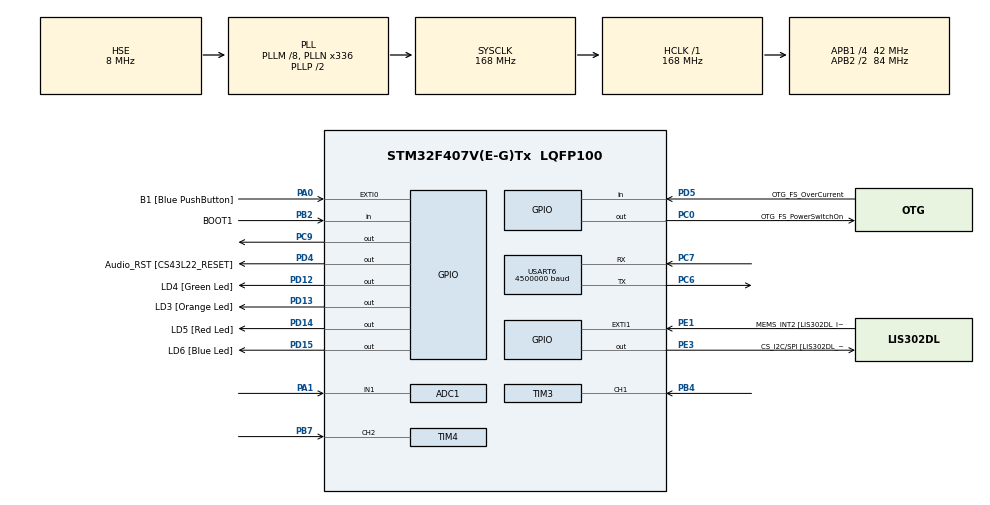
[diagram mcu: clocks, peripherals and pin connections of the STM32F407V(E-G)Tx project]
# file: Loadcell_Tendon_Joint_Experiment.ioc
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ADC1.Channel-0\#ChannelRegularConversion=ADC_CHANNEL_1
ADC1.ContinuousConvMode=ENABLE
ADC1.EOCSelection=ADC_EOC_SEQ_CONV
ADC1.NbrOfConversionFlag=1
ADC1.Rank-0\#ChannelRegularConversion=1
ADC1.SamplingTime-0\#ChannelRegularConversion=ADC_SAMPLETIME_3CYCLES
ADC1.master=1
Dma.Request0=USART6_RX
Dma.Request1=USART6_TX
Dma.USART6_RX.0.Direction=DMA_PERIPH_TO_MEMORY
Dma.USART6_RX.0.FIFOMode=DMA_FIFOMODE_DISABLE
Dma.USART6_RX.0.Instance=DMA2_Stream1
Dma.USART6_RX.0.MemDataAlignment=DMA_MDATAALIGN_BYTE
Dma.USART6_RX.0.MemInc=DMA_MINC_ENABLE
Dma.USART6_RX.0.Mode=DMA_NORMAL
Dma.USART6_RX.0.PeriphDataAlignment=DMA_PDATAALIGN_BYTE
Dma.USART6_RX.0.PeriphInc=DMA_PINC_DISABLE
Dma.USART6_RX.0.Priority=DMA_PRIORITY_LOW
Dma.USART6_TX.1.Direction=DMA_MEMORY_TO_PERIPH
Dma.USART6_TX.1.FIFOMode=DMA_FIFOMODE_DISABLE
Dma.USART6_TX.1.Instance=DMA2_Stream6
Dma.USART6_TX.1.MemDataAlignment=DMA_MDATAALIGN_BYTE
Dma.USART6_TX.1.MemInc=DMA_MINC_ENABLE
Dma.USART6_TX.1.Mode=DMA_NORMAL
Dma.USART6_TX.1.PeriphDataAlignment=DMA_PDATAALIGN_BYTE
Dma.USART6_TX.1.PeriphInc=DMA_PINC_DISABLE
Dma.USART6_TX.1.Priority=DMA_PRIORITY_LOW
Mcu.Family=STM32F4
Mcu.Name=STM32F407V(E-G)Tx
Mcu.Package=LQFP100
NVIC.DMA2_Stream1_IRQn=true\:0\:0\:false\:false\:true\:false\:true\:true
NVIC.DMA2_Stream6_IRQn=true\:0\:0\:false\:false\:true\:false\:true\:true
NVIC.PriorityGroup=NVIC_PRIORITYGROUP_0
NVIC.USART6_IRQn=true\:0\:0\:false\:false\:true\:true\:true\:true
PA0-WKUP.GPIO_Label=B1 [Blue PushButton]
PA0-WKUP.GPIO_ModeDefaultEXTI=GPIO_MODE_EVT_RISING
PA0-WKUP.GPIO_PuPd=GPIO_NOPULL
PA0-WKUP.Signal=GPXTI0
PA1.Signal=ADCx_IN1
PA10.GPIO_Label=OTG_FS_ID
PA10.GPIO_Mode=GPIO_MODE_AF_PP
PA10.GPIO_PuPd=GPIO_NOPULL
PA10.GPIO_Speed=GPIO_SPEED_FREQ_LOW
PA10.Signal=USB_OTG_FS_ID
PA11.GPIO_Label=OTG_FS_DM
PA11.GPIO_Mode=GPIO_MODE_AF_PP
PA11.GPIO_PuPd=GPIO_NOPULL
PA11.GPIO_Speed=GPIO_SPEED_FREQ_LOW
PA11.Signal=USB_OTG_FS_DM
PA12.GPIO_Label=OTG_FS_DP
PA12.GPIO_Mode=GPIO_MODE_AF_PP
PA12.GPIO_PuPd=GPIO_NOPULL
PA12.GPIO_Speed=GPIO_SPEED_FREQ_LOW
PA12.Signal=USB_OTG_FS_DP
PA13.GPIO_Label=SWDIO
PA13.Mode=Serial_Wire
PA13.Signal=SYS_JTMS-SWDIO
PA14.GPIO_Label=SWCLK
PA14.Mode=Serial_Wire
PA14.Signal=SYS_JTCK-SWCLK
PA4.GPIO_Label=I2S3_WS [CS43L22_LRCK]
PA4.GPIO_Mode=GPIO_MODE_AF_PP
PA4.GPIO_PuPd=GPIO_NOPULL
PA4.GPIO_Speed=GPIO_SPEED_FREQ_LOW
PA4.Signal=I2S3_WS
PA5.GPIO_Label=SPI1_SCK [LIS302DL_SCL/SPC]
PA5.GPIO_Mode=GPIO_MODE_AF_PP
PA5.GPIO_PuPd=GPIO_NOPULL
PA5.GPIO_Speed=GPIO_SPEED_FREQ_LOW
PA5.Signal=SPI1_SCK
PA6.GPIO_Label=SPI1_MISO [LIS302DL_SDO]
PA6.GPIO_Mode=GPIO_MODE_AF_PP
PA6.GPIO_PuPd=GPIO_NOPULL
PA6.GPIO_Speed=GPIO_SPEED_FREQ_LOW
PA6.Signal=SPI1_MISO
PA7.GPIO_Label=SPI1_MOSI [LIS302DL_SDA/SDI/SDO]
PA7.GPIO_Mode=GPIO_MODE_AF_PP
PA7.GPIO_PuPd=GPIO_NOPULL
PA7.GPIO_Speed=GPIO_SPEED_FREQ_LOW
PA7.Signal=SPI1_MOSI
PA9.GPIO_Label=VBUS_FS
PA9.GPIO_Mode=GPIO_MODE_INPUT
PA9.GPIO_PuPd=GPIO_NOPULL
PA9.Signal=USB_OTG_FS_VBUS
PB10.GPIO_Label=CLK_IN [MP45DT02_CLK]
PB10.GPIO_Mode=GPIO_MODE_AF_PP
PB10.GPIO_PuPd=GPIO_NOPULL
PB10.GPIO_Speed=GPIO_SPEED_FREQ_LOW
PB10.Signal=I2S2_CK
PB2.GPIO_Label=BOOT1
PB2.GPIO_Mode=GPIO_MODE_INPUT
PB2.GPIO_PuPd=GPIO_NOPULL
PB2.Signal=GPIO_Input
PB3.GPIO_Label=SWO
PB3.Signal=SYS_JTDO-SWO
PB4.Signal=S_TIM3_CH1
PB6.GPIO_Label=Audio_SCL [CS43L22_SCL]
PB6.GPIO_Mode=GPIO_MODE_AF_OD
PB6.GPIO_Pu=GPIO_PULLUP
PB6.GPIO_PuPd=GPIO_NOPULL
PB6.GPIO_Speed=GPIO_SPEED_FREQ_LOW
PB6.Signal=I2C1_SCL
PB7.Signal=S_TIM4_CH2
PB9.GPIO_Label=Audio_SDA [CS43L22_SDA]
PB9.GPIO_Mode=GPIO_MODE_AF_OD
PB9.GPIO_Pu=GPIO_PULLUP
PB9.GPIO_PuPd=GPIO_NOPULL
PB9.GPIO_Speed=GPIO_SPEED_FREQ_LOW
PB9.Signal=I2C1_SDA
PC0.GPIO_Label=OTG_FS_PowerSwitchOn
PC0.GPIO_PuPd=GPIO_NOPULL
PC0.GPIO_Speed=GPIO_SPEED_FREQ_LOW
PC0.PinState=GPIO_PIN_SET
PC0.Signal=GPIO_Output
PC10.GPIO_Label=I2S3_SCK [CS43L22_SCLK]
PC10.GPIO_Mode=GPIO_MODE_AF_PP
PC10.GPIO_PuPd=GPIO_NOPULL
PC10.GPIO_Speed=GPIO_SPEED_FREQ_LOW
PC10.Signal=I2S3_CK
PC12.GPIO_Label=I2S3_SD [CS43L22_SDIN]
PC12.GPIO_Mode=GPIO_MODE_AF_PP
PC12.GPIO_PuPd=GPIO_NOPULL
PC12.GPIO_Speed=GPIO_SPEED_FREQ_LOW
PC12.Signal=I2S3_SD
PC14-OSC32_IN.GPIO_Label=PC14-OSC32_IN
PC14-OSC32_IN.Mode=LSE-External-Oscillator
PC14-OSC32_IN.Signal=RCC_OSC32_IN
PC15-OSC32_OUT.GPIO_Label=PC15-OSC32_OUT
PC15-OSC32_OUT.Mode=LSE-External-Oscillator
PC15-OSC32_OUT.Signal=RCC_OSC32_OUT
PC3.GPIO_Label=PDM_OUT [MP45DT02_DOUT]
PC3.GPIO_Mode=GPIO_MODE_AF_PP
PC3.GPIO_PuPd=GPIO_NOPULL
PC3.GPIO_Speed=GPIO_SPEED_FREQ_LOW
PC3.Signal=I2S2_SD
PC6.Mode=Asynchronous
PC6.Signal=USART6_TX
PC7.Mode=Asynchronous
PC7.Signal=USART6_RX
PC9.Signal=GPIO_Output
PD12.GPIO_Label=LD4 [Green Led]
PD12.GPIO_PuPd=GPIO_NOPULL
PD12.GPIO_Speed=GPIO_SPEED_FREQ_LOW
PD12.Signal=GPIO_Output
PD13.GPIO_Label=LD3 [Orange Led]
PD13.GPIO_PuPd=GPIO_NOPULL
PD13.GPIO_Speed=GPIO_SPEED_FREQ_LOW
PD13.Signal=GPIO_Output
PD14.GPIO_Label=LD5 [Red Led]
PD14.GPIO_PuPd=GPIO_NOPULL
PD14.GPIO_Speed=GPIO_SPEED_FREQ_LOW
PD14.Signal=GPIO_Output
PD15.GPIO_Label=LD6 [Blue Led]
PD15.GPIO_PuPd=GPIO_NOPULL
PD15.GPIO_Speed=GPIO_SPEED_FREQ_LOW
PD15.Signal=GPIO_Output
PD4.GPIO_Label=Audio_RST [CS43L22_RESET]
PD4.GPIO_PuPd=GPIO_NOPULL
PD4.GPIO_Speed=GPIO_SPEED_FREQ_LOW
PD4.Signal=GPIO_Output
PD5.GPIO_Label=OTG_FS_OverCurrent
PD5.GPIO_Mode=GPIO_MODE_INPUT
PD5.GPIO_PuPd=GPIO_NOPULL
PD5.Signal=GPIO_Input
PE1.GPIO_Label=MEMS_INT2 [LIS302DL_INT2]
PE1.GPIO_ModeDefaultEXTI=GPIO_MODE_EVT_RISING
PE1.GPIO_PuPd=GPIO_NOPULL
PE1.Signal=GPXTI1
PE3.GPIO_Label=CS_I2C/SPI [LIS302DL_CS_I2C/SPI]
PE3.GPIO_PuPd=GPIO_NOPULL
PE3.GPIO_Speed=GPIO_SPEED_FREQ_LOW
PE3.Signal=GPIO_Output
PH0-OSC_IN.GPIO_Label=PH0-OSC_IN
PH0-OSC_IN.Mode=HSE-External-Oscillator
PH0-OSC_IN.Signal=RCC_OSC_IN
PH1-OSC_OUT.GPIO_Label=PH1-OSC_OUT
PH1-OSC_OUT.Mode=HSE-External-Oscillator
PH1-OSC_OUT.Signal=RCC_OSC_OUT
ProjectManager.HeapSize=0x200
ProjectManager.StackSize=0x400
ProjectManager.TargetToolchain=MDK-ARM V5
RCC.48MHZClocksFreq_Value=48000000
RCC.AHBFreq_Value=168000000
RCC.APB1CLKDivider=RCC_HCLK_DIV4
RCC.APB1Freq_Value=42000000
RCC.APB1TimFreq_Value=84000000
RCC.APB2CLKDivider=RCC_HCLK_DIV2
RCC.APB2Freq_Value=84000000
RCC.APB2TimFreq_Value=168000000
RCC.CortexFreq_Value=168000000
RCC.HCLKFreq_Value=168000000
RCC.HSE_VALUE=8000000
RCC.HSI_VALUE=16000000
RCC.PLLM=8
RCC.PLLN=336
RCC.PLLQ=7
RCC.PLLSourceVirtual=RCC_PLLSOURCE_HSE
RCC.SYSCLKFreq_VALUE=168000000
RCC.SYSCLKSource=RCC_SYSCLKSOURCE_PLLCLK
RCC.VCOOutputFreq_Value=336000000
SH.ADCx_IN1.0=ADC1_IN1,IN1
SH.S_TIM3_CH1.0=TIM3_CH1,PWM_Input_1
SH.S_TIM4_CH2.0=TIM4_CH2,PWM_Input_2
TIM3.ICFilter_1=1
TIM3.ICFilter_2=1
TIM3.Period=60000-1
TIM3.Prescaler=6-1
TIM4.ICFilter_1=1
TIM4.ICFilter_2=1
TIM4.Period=60000-1
TIM4.Prescaler=6-1
USART6.BaudRate=4500000
USART6.VirtualMode=VM_ASYNC
board=STM32F407G-DISC1

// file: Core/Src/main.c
/* USER CODE BEGIN Header */
/**
 ******************************************************************************
 * @file           : main.c
 * @brief          : Main program body
 ******************************************************************************
 * @attention
 *
 * Copyright (c) 2025 STMicroelectronics.
 * All rights reserved.
 *
 * This software is licensed under terms that can be found in the LICENSE file
 * in the root directory of this software component.
 * If no LICENSE file comes with this software, it is provided AS-IS.
 *
 ******************************************************************************
 */
/* USER CODE END Header */
#include "main.h"
#include "adc.h"
#include "dma.h"
#include "tim.h"
#include "usart.h"
#include "gpio.h"

/* USER CODE BEGIN Includes */
#include "control_table.h"
#include "my_dynamixel.h"
#include <stdlib.h> // for boolean type
#include <math.h>
/* USER CODE END Includes */

/* USER CODE BEGIN PTD */
#define AS5048_PWM_RESOLUSION 4096
#define CLK_PWM 4119
#define CLK_ZERO 16

// ****** Manual Modify in the Calibration Mode ******//
// four situations of orgAngleAS5048A
// 1 , EX: ext->flex ===== 20->70
// 2 , EX: ext->flex ===== 250->160
// 3 , EX: ext->flex ===== 300->360(0)->40
// 4 , EX: ext->flex ===== 40->0(360)->300
#define TYPE_PIP_AS5048A 2
#define TYPE_DIP_AS5048A 2

// ****** Manual Modify in the Calibration Mode ******//
// *************** integer number of clk/counter *******************//
#define AS5048A_PIP_FLEX_LIM 1916
#define AS5048A_DIP_FLEX_LIM 1630
#define AS5048A_PIP_EXT_LIM 3012
#define AS5048A_DIP_EXT_LIM 2371

#define HS30B_PIP_FLEX_LIM 972
#define HS30B_DIP_FLEX_LIM 3723
#define HS30B_PIP_EXT_LIM 3969
#define HS30B_DIP_EXT_LIM 351

// ****** Manual Modify for the lowpasss filter ******//
#define ALPHA_AS5048A 0.8
#define ALPHA_LOADCELL 0.99

// ****** Coefficient of Error Compensation ******//

// Index 20250605
#define P3 -5.0203e-07
#define P2 -2.0258e-04
#define P1 0.0273
#define P0 -0.0014

#define D3 1.1005e-05
#define D2 -0.0011
#define D1 1.0273e-04
#define D0 0.0412

/* USER CODE END PTD */

/* USER CODE BEGIN PV */
volatile ServoXM4340 myServo;

float goalCurrent;
float goalPosition;
float goalVelocity;

float curPosition;
float curCurrent;
float curVelocity;

int tensionRecordFlag_PIP = 0;
int tensionRecordFlag_DIP = 0;
int angleRecordFlag_PIP = 0;
int angleRecordFlag_DIP = 0;

int tareRecordFlag;

float cur_Velocity_PIP;
float cur_Velocity_DIP;
float curF_Velocity_PIP;
float curF_Velocity_DIP;

/*--- used in AS5048A capture func. ---*/
volatile uint32_t IC_Val1_PIP = 0, IC_Val2_PIP = 0;
volatile uint32_t IC_Val1_DIP = 0, IC_Val2_DIP = 0;
int angClkAS5048A_PIP;
int angClkAS5048A_DIP;

/* Aligned angle in deg
/* deg 0 to deg max -----------*/
float cur_AngAS5048A_PIP;
float cur_AngAS5048A_DIP;

float pre_AngAS5048A_PIP;
float pre_AngAS5048A_DIP;

/* Aligned clk and counter
/* 0 to max -----------*/
int AlignedAngClkAS5048A_PIP;
int AlignedAngClkAS5048A_DIP;

/* angle for filter*/
/*------------------------------*/
float curF_AngAS5048A_PIP;
float preF_AngAS5048A_PIP;

float curF_AngAS5048A_DIP;
float preF_AngAS5048A_DIP;

/*--- used for error compensation ---*/
float comp_AngAS5048A_DIP;
float comp_AngAS5048A_PIP;

/*--- used for loadcell ---*/
uint32_t cur_loadcell;
uint32_t pre_loadcell;
float filtered_cur_loadcell;
float filtered_pre_loadcell;

/* USER CODE END PV */

void SystemClock_Config(void);
/* USER CODE BEGIN PFP */
void getJointAngle(void);
float compErrCalculate(float angle, float c3, float c2, float c1, float c0);
int alignAS5048A(int type, int angClkAS5048A, int extLim);

void getLoadCell(void);
void loadCellInit(void);
/* USER CODE END PFP */

int main(void)
{

  /* MCU Configuration--------------------------------------------------------*/

  /* Reset of all peripherals, Initializes the Flash interface and the Systick. */
  HAL_Init();

  /* Configure the system clock */
  SystemClock_Config();

  /* Initialize all configured peripherals */
  MX_GPIO_Init();
  MX_DMA_Init();
  MX_USART6_UART_Init();
  MX_TIM3_Init();
  MX_TIM4_Init();
  MX_ADC1_Init();
  /* USER CODE BEGIN 2 */

  HAL_TIM_IC_Start(&htim3, TIM_CHANNEL_1);
  HAL_TIM_IC_Start(&htim3, TIM_CHANNEL_2);
  HAL_TIM_IC_Start(&htim4, TIM_CHANNEL_1);
  HAL_TIM_IC_Start(&htim4, TIM_CHANNEL_2);

  DXL_InitServo(&myServo, 2, &huart6, GPIOC, GPIO_PIN_9);

  HAL_UART_DeInit(&huart6);
  huart6.Init.BaudRate = 4500000;
  if (HAL_UART_Init(&huart6) != HAL_OK)
  {
    Error_Handler();
  }
  HAL_Delay(100);

  HAL_ADC_Start(&hadc1);

  /* ------------------------- Initialize ------------------------------- */
  IC_Val1_PIP = 0;
  IC_Val2_PIP = 0;
  IC_Val1_DIP = 0;
  IC_Val2_DIP = 0;
  angClkAS5048A_PIP = 0;
  angClkAS5048A_DIP = 0;
  AlignedAngClkAS5048A_PIP = 0;
  AlignedAngClkAS5048A_DIP = 0;
  cur_AngAS5048A_PIP = 0;
  cur_AngAS5048A_DIP = 0;
  curF_AngAS5048A_PIP = 0;
  curF_AngAS5048A_DIP = 0;
  comp_AngAS5048A_DIP = 0;
  comp_AngAS5048A_PIP = 0;
  pre_AngAS5048A_PIP = AlignedAngClkAS5048A_PIP;
  pre_AngAS5048A_DIP = AlignedAngClkAS5048A_DIP;
  preF_AngAS5048A_PIP = curF_AngAS5048A_PIP;
  preF_AngAS5048A_PIP = curF_AngAS5048A_DIP;

  cur_Velocity_PIP = 0;
  cur_Velocity_DIP = 0;
  curF_Velocity_PIP = 0;
  curF_Velocity_DIP = 0;

  cur_loadcell = 0;
  pre_loadcell = 0;
  filtered_cur_loadcell = 0;
  filtered_pre_loadcell = 0;

  tareRecordFlag = 0;

  /* ---------------------------------------------------------------------------------------*/
  /* ------------------ Torsion Spring Coefficient And Tension Measurement -----------------*/
  /* ---------------------------------------------------------------------------------------*/

  HAL_Delay(3000);

  // Loadcell Tare
  // ------------------------------------------------------------------ //
  loadCellInit();

  uint32_t startTick0 = HAL_GetTick();
  tareRecordFlag = 1;
  // while (1)
  while (HAL_GetTick() - startTick0 < 3000)
  {
    getLoadCell();
  }
  tareRecordFlag = 0;

  HAL_Delay(200);

  // ------------------Servo Setting ------------------- //

  // setServo_OperatingMode(&myServo, Current_CtrlMode);
  // setServo_OperatingMode(&myServo, CurrentBased_POS_CtrlMode);
  setServo_OperatingMode(&myServo, Velocity_CtrlMode);
  getServo_CurrentLimit(&myServo);
  getServo_OperatingMode(&myServo);
  setServo_TorqueENA(&myServo, TORQUE_ENABLE);
  // setServo_TorqueENA(&myServo, TORQUE_DISABLE);

  // ------------------ Parameter Test Part ------------------- //
  // // Check posCmd_Start, posCmd_MAX, servoReleaseCurCmd, servoWindingMin, servoWindingMax
  // goalCurrent = 500;
  // goalPosition = 340;
  // goalVelocity = -0.25; // rpm

  // while (1)
  // {
  //   // setServo_GoalCurrent(&myServo, goalCurrent);
  //   setServo_GoalPosition(&myServo, goalPosition);
  //   // setServo_GoalVelocity(&myServo, goalVelocity);

  //   getJointAngle();
  //   curPosition = getServo_PresentPosition(&myServo);
  //   curCurrent = getServo_PresentCurrent(&myServo);
  //   curVelocity = getServo_PresentVelocity(&myServo);

  //   // Read Loadcell
  //   pre_loadcell = cur_loadcell;
  //   filtered_pre_loadcell = filtered_cur_loadcell;
  //   if (HAL_ADC_PollForConversion(&hadc1, 2) == HAL_OK)
  //   {
  //     cur_loadcell = HAL_ADC_GetValue(&hadc1);
  //   }
  //   // Low Pass Filter
  //   filtered_cur_loadcell = ALPHA_LOADCELL * filtered_pre_loadcell +
  //                           (1 - ALPHA_LOADCELL) * ((float)cur_loadcell + (float)pre_loadcell) / 2;

  //   HAL_GPIO_TogglePin(GPIOD, LD3_Pin);
  // }

  // ------------------ Manual Modified Needed ------------------- //
  int servo_dir = -1;

  // Attention for posCmd_MAX Selection
  // The PIP/DIP joint limtation should be notice.
  // float posCmd_Start = servo_dir * 40; // mA
  // float posCmd_MAX = servo_dir * 170;  // mA
  // float posCmd_Step = servo_dir * 10;  // mA

  // float delataCur = servo_dir * 3; // mA
  uint32_t steadyInterval = 200; // ms
  float alphaVelocityFilter = 0.99;
  float jointVelocityThreshold = 0.05; // rpm

  float servoWindingMin = 340; // WindingMin means the angle of servo when the tendon finger is in the maximum Flexion position
  float servoWindingMax = 82;  // WindingMax means the angle of servo when the tendon finger is in the Extension position

  float posCmd_Start = 165;
  float posCmd_End = servoWindingMax;
  float posCmd_Step = servo_dir * 8;

  float servoDiffThreshold = 2; // deg

  float servoReleaseVelCmd = -servo_dir * 8;        // rpm
  float servoWindingVelCmd_Slow = servo_dir * 0.25; // rpm
  float servoWindingVelCmd_Fast = servo_dir * 8;    // rpm

  // ------------------ Manual Modified State ------------------- //
  // state = 1 for Flexion Measurement
  // state = -1 for Extehnsion Measurement
  int state = -1;

  float pre_comp_AngAS5048A_PIP;
  float pre_comp_AngAS5048A_DIP;
  float pre_Velocity_PIP;
  float pre_Velocity_DIP;
  float preF_Velocity_PIP;
  float preF_Velocity_DIP;
  for (float posCmd = posCmd_Start; servo_dir * posCmd <= servo_dir * posCmd_End; posCmd += posCmd_Step)
  {
    goalVelocity = servoWindingVelCmd_Fast;
    setServo_GoalVelocity(&myServo, goalVelocity);

    // Joint Stable Detection
    // ------------------------------------------------------------------ //
    getJointAngle();
    pre_comp_AngAS5048A_PIP = comp_AngAS5048A_PIP;
    pre_comp_AngAS5048A_DIP = comp_AngAS5048A_DIP;

    int isStable = 0;

    angleRecordFlag_PIP = 0;
    angleRecordFlag_DIP = 0;

    uint32_t startTick1 = HAL_GetTick();
    while (!isStable)
    {
      getJointAngle();
      getLoadCell();
      curPosition = getServo_PresentPosition(&myServo);

      if (fabs(curPosition - posCmd) < servoDiffThreshold)
      {
        goalVelocity = 0; // stop the servo
        setServo_GoalVelocity(&myServo, goalVelocity);
        if (HAL_GetTick() - startTick1 >= 3000)
        {
          isStable = 1;
          angleRecordFlag_PIP = 1;
          angleRecordFlag_DIP = 1;
          HAL_GPIO_TogglePin(GPIOD, LD4_Pin);
        }
      }
      else
        startTick1 = HAL_GetTick();
      pre_comp_AngAS5048A_PIP = comp_AngAS5048A_PIP;
      pre_comp_AngAS5048A_DIP = comp_AngAS5048A_DIP;
    }

    startTick1 = HAL_GetTick();
    while (HAL_GetTick() - startTick1 < 1000)
    {
      getJointAngle();
      getLoadCell();
    }
    angleRecordFlag_PIP = 0;
    angleRecordFlag_DIP = 0;

    // Main Experiment
    // ------------------------------------------------------------------ //
    int isMoving_PIP = 0;
    int isMoving_DIP = 0;

    tensionRecordFlag_PIP = 0;
    tensionRecordFlag_DIP = 0;

    uint32_t startTime_PWM_Sampling;
    getJointAngle();
    getLoadCell();

    pre_comp_AngAS5048A_PIP = comp_AngAS5048A_PIP;
    pre_comp_AngAS5048A_DIP = comp_AngAS5048A_DIP;

    pre_Velocity_PIP = 0;
    pre_Velocity_DIP = 0;
    preF_Velocity_PIP = 0;
    preF_Velocity_DIP = 0;
    cur_Velocity_PIP = 0;
    cur_Velocity_DIP = 0;
    curF_Velocity_PIP = 0;
    curF_Velocity_DIP = 0;

    goalVelocity = state * servoWindingVelCmd_Slow;
    setServo_GoalVelocity(&myServo, goalVelocity);

    while (!isMoving_PIP || !isMoving_DIP)
    // while (1)
    {
      HAL_GPIO_TogglePin(GPIOD, LD5_Pin);

      uint32_t startTick2 = HAL_GetTick();
      getJointAngle();

      // Get Joint Velocity
      uint32_t dt = HAL_GetTick() - startTime_PWM_Sampling;
      if (dt > 0)
      {
        cur_Velocity_PIP = ((comp_AngAS5048A_PIP - pre_comp_AngAS5048A_PIP) / dt) * 1000 / 6; // deg/ms to rpm
        cur_Velocity_DIP = ((comp_AngAS5048A_DIP - pre_comp_AngAS5048A_DIP) / dt) * 1000 / 6; // deg/ms to rpm
      }
      // Velocity Low Pass Filter
      curF_Velocity_PIP = alphaVelocityFilter * preF_Velocity_PIP + (1 - alphaVelocityFilter) * (cur_Velocity_PIP + pre_Velocity_PIP) / 2;
      curF_Velocity_DIP = alphaVelocityFilter * preF_Velocity_DIP + (1 - alphaVelocityFilter) * (cur_Velocity_DIP + pre_Velocity_DIP) / 2;
      pre_Velocity_PIP = cur_Velocity_PIP;
      pre_Velocity_DIP = cur_Velocity_DIP;
      preF_Velocity_PIP = curF_Velocity_PIP;
      preF_Velocity_DIP = curF_Velocity_DIP;

      pre_comp_AngAS5048A_PIP = comp_AngAS5048A_PIP;
      pre_comp_AngAS5048A_DIP = comp_AngAS5048A_DIP;

      // Record the time when getJointAngle() run
      startTime_PWM_Sampling = startTick2;

      // Read Loadcell
      getLoadCell();

      curPosition = getServo_PresentPosition(&myServo);

      if (fabs(curF_Velocity_PIP) > jointVelocityThreshold && !isMoving_PIP)
      {
        isMoving_PIP = 1;
        tensionRecordFlag_PIP = 1;
      }

      if (fabs(curF_Velocity_DIP) > jointVelocityThreshold && !isMoving_DIP)
      {
        isMoving_DIP = 1;
        tensionRecordFlag_DIP = 1;
      }

      HAL_Delay(5);
    }

    uint32_t startTick3 = HAL_GetTick();
    while (HAL_GetTick() - startTick3 < steadyInterval)
    {
      getJointAngle();
      getLoadCell();
      curPosition = getServo_PresentPosition(&myServo);
    }
    tensionRecordFlag_PIP = 0;
    tensionRecordFlag_DIP = 0;

    HAL_GPIO_TogglePin(GPIOD, LD6_Pin);

    // Release tendon
    goalVelocity = servoReleaseVelCmd;
    setServo_GoalVelocity(&myServo, goalVelocity);
    while ((servoWindingMax - servoWindingMin) * (servoWindingMin - curPosition) <= 0)
    {
      getJointAngle();
      getLoadCell();
      curPosition = getServo_PresentPosition(&myServo);
    }
    goalVelocity = 0;
    setServo_GoalVelocity(&myServo, goalVelocity);
  }

  /* ---------------------------------------------------------------------------*/
  /* ---------------------------------------------------------------------------*/

  /* USER CODE END 2 */

  /* Infinite loop */
  while (1)
  {

    /* USER CODE BEGIN 3 */
    HAL_GPIO_TogglePin(GPIOD, LD3_Pin);
    HAL_Delay(500);
  }
  /* USER CODE END 3 */
}

void SystemClock_Config(void)
{
  RCC_OscInitTypeDef RCC_OscInitStruct = {0};
  RCC_ClkInitTypeDef RCC_ClkInitStruct = {0};

  /** Configure the main internal regulator output voltage
   */
  __HAL_RCC_PWR_CLK_ENABLE();
  __HAL_PWR_VOLTAGESCALING_CONFIG(PWR_REGULATOR_VOLTAGE_SCALE1);

  /** Initializes the RCC Oscillators according to the specified parameters
   * in the RCC_OscInitTypeDef structure.
   */
  RCC_OscInitStruct.OscillatorType = RCC_OSCILLATORTYPE_HSE;
  RCC_OscInitStruct.HSEState = RCC_HSE_ON;
  RCC_OscInitStruct.PLL.PLLState = RCC_PLL_ON;
  RCC_OscInitStruct.PLL.PLLSource = RCC_PLLSOURCE_HSE;
  RCC_OscInitStruct.PLL.PLLM = 8;
  RCC_OscInitStruct.PLL.PLLN = 336;
  RCC_OscInitStruct.PLL.PLLP = RCC_PLLP_DIV2;
  RCC_OscInitStruct.PLL.PLLQ = 7;
  if (HAL_RCC_OscConfig(&RCC_OscInitStruct) != HAL_OK)
  {
    Error_Handler();
  }

  /** Initializes the CPU, AHB and APB buses clocks
   */
  RCC_ClkInitStruct.ClockType = RCC_CLOCKTYPE_HCLK | RCC_CLOCKTYPE_SYSCLK | RCC_CLOCKTYPE_PCLK1 | RCC_CLOCKTYPE_PCLK2;
  RCC_ClkInitStruct.SYSCLKSource = RCC_SYSCLKSOURCE_PLLCLK;
  RCC_ClkInitStruct.AHBCLKDivider = RCC_SYSCLK_DIV1;
  RCC_ClkInitStruct.APB1CLKDivider = RCC_HCLK_DIV4;
  RCC_ClkInitStruct.APB2CLKDivider = RCC_HCLK_DIV2;

  if (HAL_RCC_ClockConfig(&RCC_ClkInitStruct, FLASH_LATENCY_5) != HAL_OK)
  {
    Error_Handler();
  }
}

/* USER CODE BEGIN 4 */
void loadCellInit(void)
{
  // Read Loadcell
  if (HAL_ADC_PollForConversion(&hadc1, 2) == HAL_OK)
  {
    cur_loadcell = HAL_ADC_GetValue(&hadc1);
  }
  pre_loadcell = cur_loadcell;
  filtered_cur_loadcell = cur_loadcell;
  filtered_pre_loadcell = filtered_cur_loadcell;
}

void getLoadCell(void)
{
  // Read Loadcell
  if (HAL_ADC_PollForConversion(&hadc1, 2) == HAL_OK)
  {
    cur_loadcell = HAL_ADC_GetValue(&hadc1);
  }
  // Low Pass Filter
  filtered_cur_loadcell = ALPHA_LOADCELL * filtered_pre_loadcell +
                          (1 - ALPHA_LOADCELL) * ((float)cur_loadcell + (float)pre_loadcell) / 2;
  pre_loadcell = cur_loadcell;
  filtered_pre_loadcell = filtered_cur_loadcell;
}

void getJointAngle(void)
{
  // getAngClkAS5048A(); // original clk
  IC_Val1_PIP = HAL_TIM_ReadCapturedValue(&htim3, TIM_CHANNEL_1);
  IC_Val2_PIP = HAL_TIM_ReadCapturedValue(&htim3, TIM_CHANNEL_2);
  IC_Val2_DIP = HAL_TIM_ReadCapturedValue(&htim4, TIM_CHANNEL_1);
  IC_Val1_DIP = HAL_TIM_ReadCapturedValue(&htim4, TIM_CHANNEL_2);
  angClkAS5048A_PIP = (int)(IC_Val2_PIP + 1) * CLK_PWM / (IC_Val1_PIP + 1) - CLK_ZERO;
  angClkAS5048A_DIP = (int)(IC_Val2_DIP + 1) * CLK_PWM / (IC_Val1_DIP + 1) - CLK_ZERO;

  // Alignment();
  AlignedAngClkAS5048A_PIP = alignAS5048A(TYPE_PIP_AS5048A, angClkAS5048A_PIP, AS5048A_PIP_EXT_LIM);
  AlignedAngClkAS5048A_DIP = alignAS5048A(TYPE_DIP_AS5048A, angClkAS5048A_DIP, AS5048A_DIP_EXT_LIM);

  // getRealAngle();
  cur_AngAS5048A_PIP = (float)AlignedAngClkAS5048A_PIP * 360 / 4096;
  cur_AngAS5048A_DIP = (float)AlignedAngClkAS5048A_DIP * 360 / 4096;

  // getFilterAngle();
  curF_AngAS5048A_PIP = ALPHA_AS5048A * preF_AngAS5048A_PIP + (1 - ALPHA_AS5048A) * (cur_AngAS5048A_PIP + pre_AngAS5048A_PIP) / 2;
  curF_AngAS5048A_DIP = ALPHA_AS5048A * preF_AngAS5048A_DIP + (1 - ALPHA_AS5048A) * (cur_AngAS5048A_DIP + pre_AngAS5048A_DIP) / 2;
  pre_AngAS5048A_PIP = cur_AngAS5048A_PIP;
  pre_AngAS5048A_DIP = cur_AngAS5048A_DIP;
  preF_AngAS5048A_PIP = curF_AngAS5048A_PIP;
  preF_AngAS5048A_DIP = curF_AngAS5048A_DIP;

  float ePIP = compErrCalculate(curF_AngAS5048A_PIP, P3, P2, P1, P0);
  float eDIP = compErrCalculate(curF_AngAS5048A_DIP, D3, D2, D1, D0);

  comp_AngAS5048A_PIP = curF_AngAS5048A_PIP + ePIP;
  comp_AngAS5048A_DIP = curF_AngAS5048A_DIP + eDIP;
}

float compErrCalculate(float angle, float c3, float c2, float c1, float c0)
{
  float pow[4] = {1, 1, 1, 1};
  for (int i = 1; i <= 3; i++)
  {
    pow[i] = pow[i - 1] * angle;
  }

  return c3 * pow[3] + c2 * pow[2] + c1 * pow[1] + c0;
}

int alignAS5048A(int type, int angClkAS5048A, int extLim)
{
  switch (type)
  {
  case 1:
    // EX: ext->flex ===== 20->70
    return angClkAS5048A - extLim;
    break;
  case 2:
    // EX: ext->flex ===== 250->160
    return extLim - angClkAS5048A;
    break;
  case 3:
  {
    // EX: ext->flex ===== 300->360(0)->40
    int val = AS5048_PWM_RESOLUSION - extLim;
    if (angClkAS5048A <= AS5048_PWM_RESOLUSION / 2)
    {
      return angClkAS5048A + val;
    }
    else if (angClkAS5048A > AS5048_PWM_RESOLUSION / 2)
    {
      return angClkAS5048A - AS5048_PWM_RESOLUSION + val;
    }
    break;
  }
  case 4:
  {
    // EX: ext->flex ===== 40->0(360)->300
    int val = extLim;
    if (angClkAS5048A <= AS5048_PWM_RESOLUSION / 2)
    {
      return -angClkAS5048A + val;
    }
    else if (angClkAS5048A > AS5048_PWM_RESOLUSION / 2)
    {
      return -angClkAS5048A + AS5048_PWM_RESOLUSION + val;
    }
    break;
  }
  default:
    break;
  }
}

void HAL_UART_TxCpltCallback(UART_HandleTypeDef *huart)
{
  if (huart->Instance == USART6)
  {
    DXL_SetTxFinished(true);
  }
}

void HAL_UART_RxCpltCallback(UART_HandleTypeDef *huart)
{

  if (huart->Instance == USART6)
  {
    UNUSED(huart);
    DXL_AssignRxBufferToServo(&myServo);
    DXL_SetServoResponse_RxFinished(&myServo, true);
  }
}
/* USER CODE END 4 */

void Error_Handler(void)
{
  __disable_irq();
  while (1)
  {
  }
}
